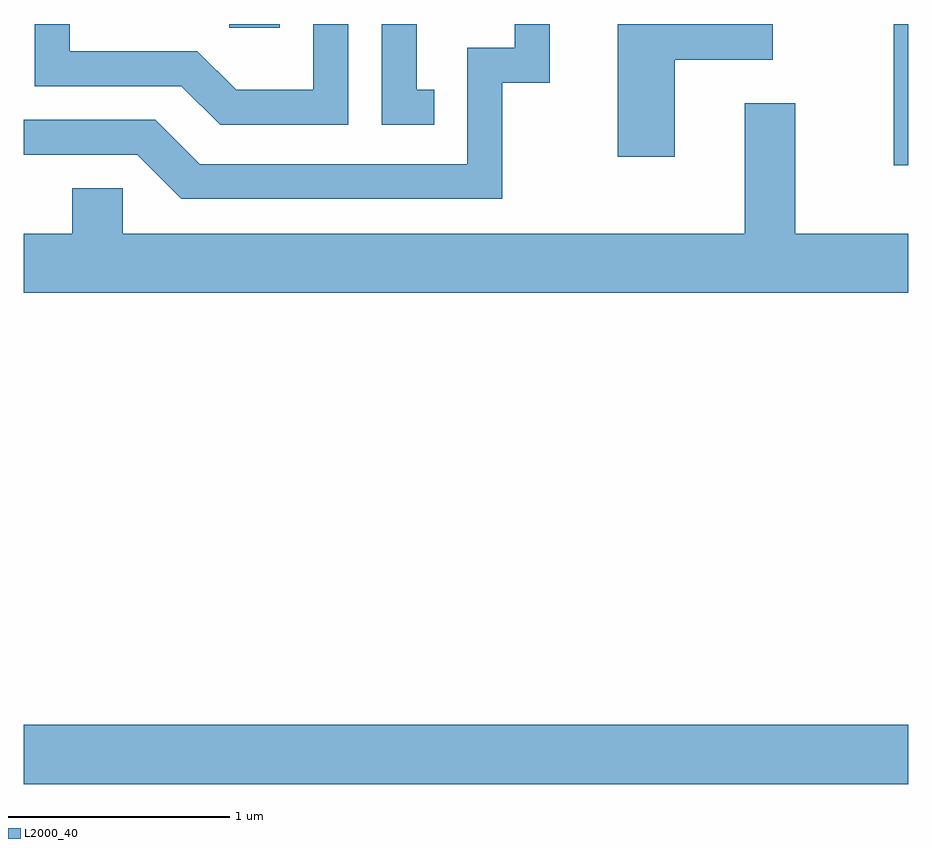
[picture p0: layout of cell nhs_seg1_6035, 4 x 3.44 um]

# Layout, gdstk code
import gdstk
lib = gdstk.Library(unit=1e-6, precision=1e-09)
def R(c, l, rs):  # rectangles x0, y0, x1, y1
    for r in rs: c.add(gdstk.rectangle(r[:2], r[2:], *l))
def P(c, l, *ps):  # polygons
    for p in ps: c.add(gdstk.Polygon(p, *l))
L2000_40 = (2000, 40)

nhs_seg1_6035 = lib.new_cell('nhs_seg1_6035')
R(nhs_seg1_6035, L2000_40, [(367.611,866.276,371.611,866.544), (371.546,869.073,371.611,869.712), (368.541,869.696,368.769,869.712)])
P(nhs_seg1_6035, L2000_40, [(369.468,869.414),(369.389,869.414),(369.389,869.712),(369.231,869.712),(369.231,869.256),(369.468,869.256)],
  [(370.554,869.551),(370.998,869.551),(370.998,869.712),(370.296,869.712),(370.296,869.111),(370.554,869.111)],
  [(369.774,869.446),(369.989,869.446),(369.989,869.712),(369.831,869.712),(369.831,869.604),(369.616,869.604),(369.616,869.079),(368.407,869.079),(368.207,869.279),(367.611,869.279),(367.611,869.121),(368.124,869.121),(368.324,868.921),(369.774,868.921)],
  [(369.079,869.712),(368.921,869.712),(368.921,869.414),(368.572,869.414),(368.397,869.589),(367.819,869.589),(367.819,869.712),(367.661,869.712),(367.661,869.431),(368.324,869.431),(368.499,869.256),(369.079,869.256)],
  [(371.611,868.764),(371.099,868.764),(371.099,869.354),(370.871,869.354),(370.871,868.764),(368.059,868.764),(368.059,868.969),(367.831,868.969),(367.831,868.764),(367.611,868.764),(367.611,868.496),(371.611,868.496)])

lib.write_gds('nhs_seg1_6035.gds')
